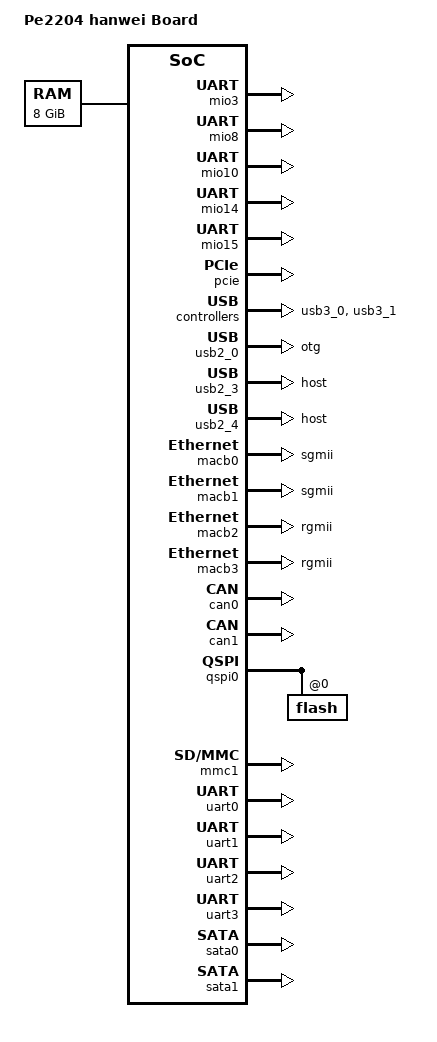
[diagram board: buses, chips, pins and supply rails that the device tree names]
// SPDX-License-Identifier: GPL-2.0
/*
 * DTS file for Phytium Pe2204 hanwei board
 *
 * Copyright (c) 2022-2023 Phytium Technology Co., Ltd.
 *
 * Hongmin Qi <qihongmin@phytium.com.cn>
 *
 * This program is free software; you can redistribute it and/or
 * modify it under the terms of the GNU General Public License as
 * published by the Free Software Foundation; either version 2 of
 * the License, or (at your option) any later version.
 */

/dts-v1/;
/memreserve/ 0x80000000 0x10000;

#include "pe2204.dtsi"

/{
	model = "Pe2204 hanwei Board";
	compatible = "phytium,pe2204";

	chosen {
		stdout-path = "serial1:115200n8";
	};

	memory@00{
		device_type = "memory";
		reg = <0x0 0x80000000 0x2 0x00000000>;
	};
};

&soc {
	mio3: uart@2801a000 {
		compatible = "arm,pl011", "arm,primecell";
		reg = <0x0 0x2801a000 0x0 0x1000>;
		interrupts = <0x0 0x5f 0x4>;
		clocks = <&sysclk_50mhz &sysclk_50mhz>;
		clock-names = "uartclk", "apb_pclk";
		status = "okay";
	};

	mio8: uart@28024000 {
		compatible = "arm,pl011", "arm,primecell";
		reg = <0x0 0x28024000 0x0 0x1000>;
		interrupts = <0x0 0x64 0x4>;
		clocks = <&sysclk_50mhz &sysclk_50mhz>;
		clock-names = "uartclk", "apb_pclk";
		status = "okay";
	};

	mio10: uart@28028000 {
		compatible = "arm,pl011", "arm,primecell";
		reg = <0x0 0x28028000 0x0 0x1000>;
		interrupts = <0x0 0x66 0x4>;
		clocks = <&sysclk_50mhz &sysclk_50mhz>;
		clock-names = "uartclk", "apb_pclk";
		status = "okay";
	};

	mio14: uart@28030000 {
		compatible = "arm,pl011", "arm,primecell";
		reg = <0x0 0x28030000 0x0 0x1000>;
		interrupts = <0x0 0x6a 0x4>;
		clocks = <&sysclk_50mhz &sysclk_50mhz>;
		clock-names = "uartclk", "apb_pclk";
		status = "okay";
	};

	mio15: uart@28032000 {
		compatible = "arm,pl011", "arm,primecell";
		reg = <0x0 0x28032000 0x0 0x1000>;
		interrupts = <0x0 0x6b 0x4>;
		clocks = <&sysclk_50mhz &sysclk_50mhz>;
		clock-names = "uartclk", "apb_pclk";
		status = "okay";
	};
};

&pcie {
	status = "okay";
};

&usb3_0 {
	status = "okay";
};

&usb3_1 {
	status = "okay";
};

&usb2_0 {
	dr_mode = "otg";
	status = "okay";
};

&usb2_3 {
	dr_mode = "host";
	status = "okay";
};

&usb2_4 {
	dr_mode = "host";
	status = "okay";
};

&macb0 {
	phy-mode = "sgmii";
	use-mii;
	status = "okay";
};

&macb1 {
	phy-mode = "sgmii";
	use-mii;
	status = "okay";
};

&macb2 {
	phy-mode = "rgmii";
	use-mii;
	status = "okay";
};

&macb3 {
	phy-mode = "rgmii";
	use-mii;
	status = "okay";
};

&can0 {
	status = "okay";
};

&can1 {
	status = "okay";
};

&qspi0 {
	status = "okay";

	flash@0 {
		status = "okay";
	};
};

&spi0 {
	global-cs = <1>;
	status = "disabled";
};

&mmc0 {
	bus-width = <8>;
	max-frequency = <25000000>;
	cap-mmc-hw-reset;
	cap-mmc-highspeed;
	no-sdio;
	no-sd;
	non-removable;
	status = "disabled";
};

&mmc1 {
	status = "okay";
};

&uart0 {
	status = "okay";
};

&uart1 {
	status = "okay";
};

&uart2 {
	status = "okay";
};

&uart3 {
	status = "okay";
};

&sata0 {
	status = "okay";
};

&sata1 {
	status = "okay";
};

&gpio0 {
	status = "okay";
};

&gpio1 {
	status = "okay";
};

&gpio2 {
	status = "okay";
};

&gpio3 {
	status = "okay";
};

&gpio4 {
	status = "okay";
};

&gpio5 {
	status = "okay";
};

